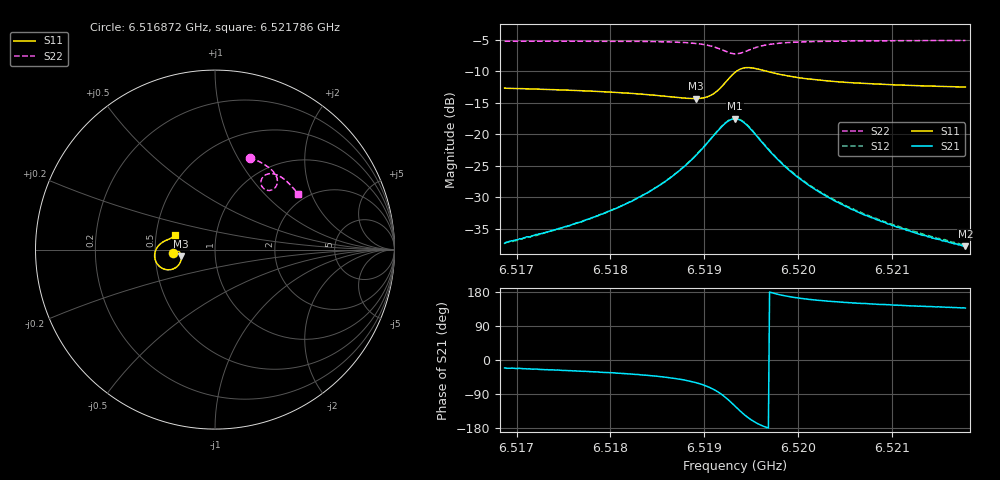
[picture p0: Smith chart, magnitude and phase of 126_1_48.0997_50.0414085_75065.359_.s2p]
#  HZ  S  RI  R  50.00
! Rohde & Schwarz Vector Network Analyzer
! Rohde-Schwarz,ZNB20-2Port,1311601062101988,3.16
! Created: UTC 12/23/2023, 3:47:16 AM
! freq[Hz]  re:S11  im:S11  re:S21  im:S21  re:S12  im:S12  re:S22  im:S22
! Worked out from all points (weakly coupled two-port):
!   401 points, 6.516872 GHz to 6.521786 GHz, reference 50 ohm
!   highest |S21| = -17.54 dB at 6.519329 GHz (marker M1); lowest = -37.8 dB at 6.521786 GHz (marker M2)
!   lowest |S11| = -14.3 dB at 6.518912 GHz (marker M3), VSWR 1.47, Z = 34.1 - j2.57 ohm
!   |S11| at or under -10 dB: start of sweep to 6.519344 GHz; 6.519669 GHz to end of sweep
!   |S22| runs from -7.2 to -5.1 dB; largest |S21 - S12| = 0.0042
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6.5168723e9  -0.2314 -0.0196  0.0127 -0.00489  0.0129 -0.00449  0.1944 0.5125
6.517204e9  -0.2279 -0.0144  0.0145 -0.00658  0.0145 -0.006  0.2187 0.5029
6.5176954e9  -0.2216 -0.00827  0.0176 -0.00997  0.0179 -0.00936  0.2553 0.4856
6.5181377e9  -0.213 -0.00572  0.0223 -0.0159  0.0227 -0.0153  0.2883 0.4656
6.5185185e9  -0.2024 -0.00962  0.0283 -0.0269  0.0293 -0.026  0.3177 0.4416
6.5187151e9  -0.1951 -0.0178  0.032 -0.0381  0.0334 -0.0372  0.3329 0.4238
6.5189116e9  -0.1884 -0.0364  0.0341 -0.0584  0.0362 -0.0577  0.3455 0.3977
6.5190222e9  -0.1889 -0.0559  0.0303 -0.0775  0.033 -0.077  0.3476 0.3763
6.5191082e9  -0.197 -0.0775  0.0196 -0.0967  0.0229 -0.0969  0.342 0.3559
6.5192311e9  -0.2361 -0.1088  -0.0201 -0.1215  -0.0165 -0.1231  0.3125 0.331
6.5193293e9  -0.2914 -0.1054  -0.0698 -0.113  -0.0668 -0.1159  0.2745 0.3377
6.5193785e9  -0.3157 -0.0876  -0.0893 -0.0948  -0.0871 -0.0983  0.261 0.353
6.5194399e9  -0.333 -0.0574  -0.1011 -0.0667  -0.0999 -0.0703  0.2558 0.376
6.5195382e9  -0.3336 -0.0133  -0.0972 -0.029  -0.097 -0.0319  0.2676 0.4051
6.5196488e9  -0.3185 0.0175  -0.0809 -0.00516  -0.0814 -0.0076  0.29 0.4199
6.5198945e9  -0.287 0.0444  -0.0517 0.0111  -0.0525 0.00978  0.331 0.4209
6.5201525e9  -0.2673 0.0538  -0.0353 0.0134  -0.0361 0.0125  0.3598 0.4091
6.5203613e9  -0.257 0.0581  -0.0275 0.0131  -0.0283 0.0124  0.3775 0.3977
6.5205579e9  -0.2497 0.0615  -0.0225 0.0124  -0.0232 0.0119  0.3921 0.3862
6.5209756e9  -0.2385 0.0675  -0.016 0.0109  -0.0164 0.0107  0.4187 0.3618
6.5213073e9  -0.2316 0.0723  -0.0125 0.00983  -0.0131 0.00974  0.4368 0.3419
6.5217864e9  -0.2236 0.079  -0.00945 0.00879  -0.0099 0.00862  0.4603 0.312
